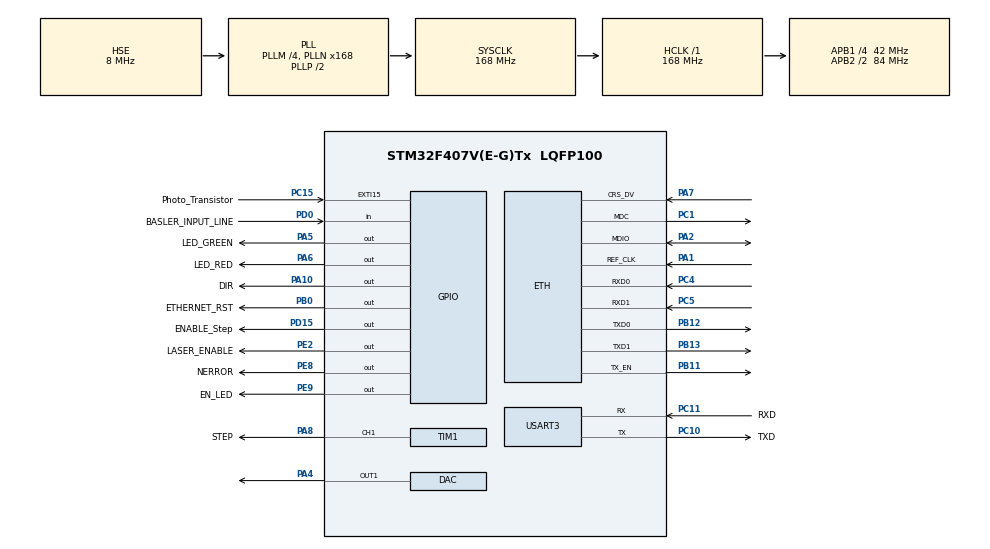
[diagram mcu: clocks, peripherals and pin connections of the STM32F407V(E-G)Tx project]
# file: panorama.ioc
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Mcu.Family=STM32F4
PA2.GPIO_PuPd=GPIO_PULLUP
PH0-OSC_IN.Signal=RCC_OSC_IN
RCC.CortexFreq_Value=168000000
PC10.Signal=USART3_TX
PD0.GPIO_Label=BASLER_INPUT_LINE
PA6.GPIO_Label=LED_RED
PB0.GPIO_Label=ETHERNET_RST
TIM1.Pulse-PWM\ Generation1\ CH1=20000
PC5.Mode=RMII
PB11.GPIO_PuPd=GPIO_PULLUP
PB11.Signal=ETH_TX_EN
PB13.Signal=ETH_TXD1
PA5.PinState=GPIO_PIN_RESET
PC15-OSC32_OUT.GPIO_Label=Photo_Transistor
RCC.SYSCLKSource=RCC_SYSCLKSOURCE_PLLCLK
ProjectManager.StackSize=0x400
VP_FREERTOS_VS_CMSIS_V2.Mode=CMSIS_V2
LWIP.NETMASK_ADDRESS=255.255.255.000
TIM1.Prescaler=100
PB0.PinState=GPIO_PIN_SET
RCC.HCLKFreq_Value=168000000
RCC.APB2TimFreq_Value=168000000
VP_TIM10_VS_ClockSourceINT.Mode=Enable_Timer
PD0.Signal=GPIO_Input
PA1.GPIO_PuPd=GPIO_PULLUP
RCC.AHBFreq_Value=168000000
PH0-OSC_IN.Mode=HSE-External-Oscillator
NVIC.ETH_IRQn=true\:5\:0\:false\:false\:true\:true\:false\:true
NVIC.EXTI15_10_IRQn=true\:5\:0\:false\:false\:true\:true\:true\:true
NVIC.TIM1_TRG_COM_TIM11_IRQn=true\:0\:0\:false\:false\:true\:false\:false\:true
RCC.HSE_VALUE=8000000
PB3.Mode=Trace_Asynchronous_SW
PC1.GPIO_PuPd=GPIO_PULLUP
PD15.PinState=GPIO_PIN_SET
PA6.GPIO_PuPd=GPIO_NOPULL
TIM1.Channel-PWM\ Generation1\ CH1=TIM_CHANNEL_1
PE9.Signal=GPIO_Output
PA14.Mode=Trace_Asynchronous_SW
PA5.GPIO_PuPd=GPIO_NOPULL
PC11.GPIO_Label=RXD
PA10.GPIO_Label=DIR
PE2.Signal=GPIO_Output
PA8.Signal=S_TIM1_CH1
FREERTOS.configTOTAL_HEAP_SIZE=15360 * 2
PH1-OSC_OUT.Mode=HSE-External-Oscillator
Mcu.Package=LQFP100
PA6.Signal=GPIO_Output
PB12.Mode=RMII
NVIC.TimeBase=TIM1_TRG_COM_TIM11_IRQn
PD15.GPIO_PuPd=GPIO_PULLUP
NVIC.TimeBaseIP=TIM11
PA10.Signal=GPIO_Output
PC11.Mode=Asynchronous
RCC.APB2CLKDivider=RCC_HCLK_DIV2
RCC.APB1TimFreq_Value=84000000
PC5.Signal=ETH_RXD1
TIM1.Period=20000
PB13.Mode=RMII
PE2.GPIO_Label=LASER_ENABLE
PD15.Signal=GPIO_Output
PC4.Mode=RMII
LWIP.IP_ADDRESS=192.168.000.055
RCC.PLLSourceVirtual=RCC_PLLSOURCE_HSE
SH.COMP_DAC1_group.0=DAC_OUT1,DAC_OUT1
FREERTOS.Tasks01=defaultTask,24,128,StartDefaultTask,Default,NULL,Static,defaultTaskBuffer,defaultTaskControlBlock;StepMotorSpeed,25,128,SpeedTask,Default,NULL,Static,SpeedTaskBuffer,SpeedTaskControlBlock
PD15.GPIO_Label=ENABLE_Step
PA7.Mode=RMII
PC10.GPIO_Label=TXD
PC4.GPIO_PuPd=GPIO_PULLUP
PC11.Signal=USART3_RX
PC4.Signal=ETH_RXD0
PC10.Mode=Asynchronous
LWIP.LWIP_DHCP=1
RCC.APB1CLKDivider=RCC_HCLK_DIV4
PC5.GPIO_PuPd=GPIO_PULLUP
ETH.PhyAddress=0
VP_LWIP_VS_Enabled.Mode=Enabled
LWIP.GATEWAY_ADDRESS=192.168.000.010
PA13.Signal=SYS_JTMS-SWDIO
PA8.GPIO_Label=STEP
SH.S_TIM1_CH1.0=TIM1_CH1,PWM Generation1 CH1
PB11.Mode=RMII
ProjectManager.TargetToolchain=STM32CubeIDE
PE8.GPIO_Label=NERROR
RCC.LSE_VALUE=32768
PC15-OSC32_OUT.Signal=GPXTI15
PE9.GPIO_Label=EN_LED
PA1.Signal=ETH_REF_CLK
PA7.GPIO_PuPd=GPIO_PULLUP
PA5.Signal=GPIO_Output
board=custom
RCC.VCOOutputFreq_Value=336000000
PB13.GPIO_PuPd=GPIO_PULLUP
VP_TIM13_VS_ClockSourceINT.Mode=Enable_Timer
RCC.APB2Freq_Value=84000000
PA1.Mode=RMII
TIM13.Prescaler=65535
PE8.Signal=GPIO_Output
PH1-OSC_OUT.Signal=RCC_OSC_OUT
PA13.Mode=Trace_Asynchronous_SW
Mcu.Name=STM32F407V(E-G)Tx
VP_SYS_VS_tim11.Mode=TIM11
PA2.Signal=ETH_MDIO
RCC.48MHZClocksFreq_Value=84000000
PB3.Signal=SYS_JTDO-SWO
PA4.Signal=COMP_DAC1_group
RCC.SYSCLKFreq_VALUE=168000000
ETH.MediaInterface=ETH_MEDIA_INTERFACE_RMII
PA5.GPIO_Label=LED_GREEN
USART3.VirtualMode=VM_ASYNC
PA14.Signal=SYS_JTCK-SWCLK
ProjectManager.HeapSize=0x200
LWIP.Version=v2.1.2_Cube
RCC.HSI_VALUE=16000000
NVIC.PriorityGroup=NVIC_PRIORITYGROUP_4
RCC.PLLM=4
RCC.PLLN=168
PA2.Mode=RMII
PB12.GPIO_PuPd=GPIO_PULLUP
RCC.APB1Freq_Value=42000000
PB0.Signal=GPIO_Output
PC1.Signal=ETH_MDC
PB12.Signal=ETH_TXD0
PB0.GPIO_PuPd=GPIO_PULLUP
PC1.Mode=RMII
PA7.Signal=ETH_CRS_DV

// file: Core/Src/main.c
/* USER CODE BEGIN Header */
/**
  ******************************************************************************
  * @file           : main.c
  * @brief          : Main program body
  ******************************************************************************
  * @attention
  *
  * <h2><center>&copy; Copyright (c) 2021 STMicroelectronics.
  * All rights reserved.</center></h2>
  *
  * This software component is licensed by ST under Ultimate Liberty license
  * SLA0044, the "License"; You may not use this file except in compliance with
  * the License. You may obtain a copy of the License at:
  *                             www.st.com/SLA0044
  *
  ******************************************************************************
  */
/* USER CODE END Header */
#include "main.h"
#include "cmsis_os.h"
#include "dac.h"
#include "lwip.h"
#include "tim.h"
#include "usart.h"
#include "gpio.h"

void SystemClock_Config(void);
void MX_FREERTOS_Init(void);

int main(void)
{

  /* MCU Configuration--------------------------------------------------------*/

  /* Reset of all peripherals, Initializes the Flash interface and the Systick. */
  HAL_Init();

  /* Configure the system clock */
  SystemClock_Config();

  /* Initialize all configured peripherals */
  MX_GPIO_Init();
  MX_DAC_Init();
  MX_TIM1_Init();
  MX_TIM10_Init();
  MX_USART3_UART_Init();
  MX_TIM13_Init();
  /* USER CODE BEGIN 2 */
	HAL_DAC_SetValue(&hdac, DAC_CHANNEL_1, DAC_ALIGN_12B_R, 500);
	HAL_DAC_Start(&hdac, DAC_CHANNEL_1);
  Step_Motor_Enable();
  HAL_TIM_PWM_Start(&htim1, TIM_CHANNEL_1);
  /* USER CODE END 2 */

  /* Init scheduler */
  osKernelInitialize();  /* Call init function for freertos objects (in freertos.c) */
  MX_FREERTOS_Init();
  /* Start scheduler */
  osKernelStart();

  /* We should never get here as control is now taken by the scheduler */
  /* Infinite loop */
  while (1)
  {

  }
}

void SystemClock_Config(void)
{
  RCC_OscInitTypeDef RCC_OscInitStruct = {0};
  RCC_ClkInitTypeDef RCC_ClkInitStruct = {0};

  /** Configure the main internal regulator output voltage
  */
  __HAL_RCC_PWR_CLK_ENABLE();
  __HAL_PWR_VOLTAGESCALING_CONFIG(PWR_REGULATOR_VOLTAGE_SCALE1);
  /** Initializes the RCC Oscillators according to the specified parameters
  * in the RCC_OscInitTypeDef structure.
  */
  RCC_OscInitStruct.OscillatorType = RCC_OSCILLATORTYPE_HSE;
  RCC_OscInitStruct.HSEState = RCC_HSE_ON;
  RCC_OscInitStruct.PLL.PLLState = RCC_PLL_ON;
  RCC_OscInitStruct.PLL.PLLSource = RCC_PLLSOURCE_HSE;
  RCC_OscInitStruct.PLL.PLLM = 4;
  RCC_OscInitStruct.PLL.PLLN = 168;
  RCC_OscInitStruct.PLL.PLLP = RCC_PLLP_DIV2;
  RCC_OscInitStruct.PLL.PLLQ = 4;
  if (HAL_RCC_OscConfig(&RCC_OscInitStruct) != HAL_OK)
  {
    Error_Handler();
  }
  /** Initializes the CPU, AHB and APB buses clocks
  */
  RCC_ClkInitStruct.ClockType = RCC_CLOCKTYPE_HCLK|RCC_CLOCKTYPE_SYSCLK
                              |RCC_CLOCKTYPE_PCLK1|RCC_CLOCKTYPE_PCLK2;
  RCC_ClkInitStruct.SYSCLKSource = RCC_SYSCLKSOURCE_PLLCLK;
  RCC_ClkInitStruct.AHBCLKDivider = RCC_SYSCLK_DIV1;
  RCC_ClkInitStruct.APB1CLKDivider = RCC_HCLK_DIV4;
  RCC_ClkInitStruct.APB2CLKDivider = RCC_HCLK_DIV2;

  if (HAL_RCC_ClockConfig(&RCC_ClkInitStruct, FLASH_LATENCY_5) != HAL_OK)
  {
    Error_Handler();
  }
}

 /**
  * @brief  Period elapsed callback in non blocking mode
  * @note   This function is called  when TIM11 interrupt took place, inside
  * HAL_TIM_IRQHandler(). It makes a direct call to HAL_IncTick() to increment
  * a global variable "uwTick" used as application time base.
  * @param  htim : TIM handle
  * @retval None
  */
void HAL_TIM_PeriodElapsedCallback(TIM_HandleTypeDef *htim)
{
  if (htim->Instance == TIM11) {
    HAL_IncTick();
  }
}

void Error_Handler(void)
{
  __disable_irq();
  while (1)
  {
  }
}

/************************ (C) COPYRIGHT STMicroelectronics *****END OF FILE****/

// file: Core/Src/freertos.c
/* USER CODE BEGIN Header */
/**
  ******************************************************************************
  * File Name          : freertos.c
  * Description        : Code for freertos applications
  ******************************************************************************
  * @attention
  *
  * <h2><center>&copy; Copyright (c) 2021 STMicroelectronics.
  * All rights reserved.</center></h2>
  *
  * This software component is licensed by ST under Ultimate Liberty license
  * SLA0044, the "License"; You may not use this file except in compliance with
  * the License. You may obtain a copy of the License at:
  *                             www.st.com/SLA0044
  *
  ******************************************************************************
  */
/* USER CODE END Header */

#include "FreeRTOS.h"
#include "task.h"
#include "main.h"
#include "cmsis_os.h"

/* USER CODE BEGIN Includes */
#include "tim.h"
/* USER CODE END Includes */

typedef StaticTask_t osStaticThreadDef_t;

/* Definitions for defaultTask */
osThreadId_t defaultTaskHandle;
uint32_t defaultTaskBuffer[ 128 ];
osStaticThreadDef_t defaultTaskControlBlock;
const osThreadAttr_t defaultTask_attributes = {
  .name = "defaultTask",
  .cb_mem = &defaultTaskControlBlock,
  .cb_size = sizeof(defaultTaskControlBlock),
  .stack_mem = &defaultTaskBuffer[0],
  .stack_size = sizeof(defaultTaskBuffer),
  .priority = (osPriority_t) osPriorityNormal,
};
/* Definitions for StepMotorSpeed */
osThreadId_t StepMotorSpeedHandle;
uint32_t SpeedTaskBuffer[ 128 ];
osStaticThreadDef_t SpeedTaskControlBlock;
const osThreadAttr_t StepMotorSpeed_attributes = {
  .name = "StepMotorSpeed",
  .cb_mem = &SpeedTaskControlBlock,
  .cb_size = sizeof(SpeedTaskControlBlock),
  .stack_mem = &SpeedTaskBuffer[0],
  .stack_size = sizeof(SpeedTaskBuffer),
  .priority = (osPriority_t) osPriorityNormal1,
};

void StartDefaultTask(void *argument);
void SpeedTask(void *argument);

extern void MX_LWIP_Init(void);
void MX_FREERTOS_Init(void); /* (MISRA C 2004 rule 8.1) */

void MX_FREERTOS_Init(void) {

  /* Create the thread(s) */
  /* creation of defaultTask */
  defaultTaskHandle = osThreadNew(StartDefaultTask, NULL, &defaultTask_attributes);

  /* creation of StepMotorSpeed */
  StepMotorSpeedHandle = osThreadNew(SpeedTask, NULL, &StepMotorSpeed_attributes);

}

void StartDefaultTask(void *argument)
{
  /* init code for LWIP */
  MX_LWIP_Init();
  /* USER CODE BEGIN StartDefaultTask */
  /* Infinite loop */
  for(;;)
  {
	  Red_On();
    osDelay(300);
    LEDs_Off();
    osDelay(300);
  }
  /* USER CODE END StartDefaultTask */
}

void SpeedTask(void *argument)
{
  /* USER CODE BEGIN SpeedTask */
  /* Infinite loop */
	uint32_t Timer_Count;
	const float OneSecond = 1282;
	while(1)
	{
		xTaskNotifyWait(0, 0, &Timer_Count, portMAX_DELAY);
		//after interrupt check how much time has passed. if less then one second => reduce speed, if more then one second => increase speed;
		if(Timer_Count / OneSecond > 1.1)
		{
			htim1.Instance->PSC--;
		}
		else if(Timer_Count / OneSecond < 0.9)
		{
			htim1.Instance->PSC++;
		}
	}
  /* USER CODE END SpeedTask */
}

/* USER CODE BEGIN Application */
void HAL_GPIO_EXTI_Callback(uint16_t GPIO_Pin)
{
	if (GPIO_Pin == Photo_Transistor_Pin)
	{
		xTaskNotifyFromISR(StepMotorSpeedHandle, (uint32_t)htim13.Instance->CNT, eNoAction, NULL);
	}
}
/* USER CODE END Application */

/************************ (C) COPYRIGHT STMicroelectronics *****END OF FILE****/
